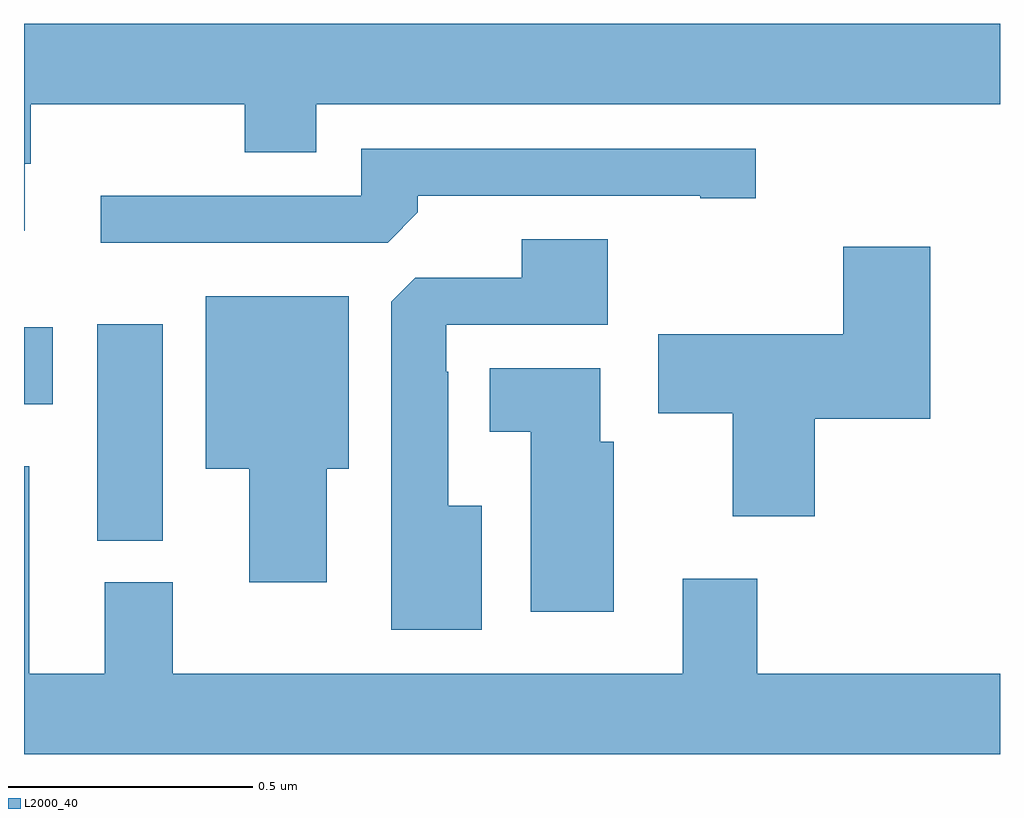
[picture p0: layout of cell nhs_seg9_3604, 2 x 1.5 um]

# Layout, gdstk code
import gdstk
lib = gdstk.Library(unit=1e-6, precision=1e-09)
def R(c, l, rs):  # rectangles x0, y0, x1, y1
    for r in rs: c.add(gdstk.rectangle(r[:2], r[2:], *l))
def P(c, l, *ps):  # polygons
    for p in ps: c.add(gdstk.Polygon(p, *l))
L2000_40 = (2000, 40)

nhs_seg9_3604 = lib.new_cell('nhs_seg9_3604')
R(nhs_seg9_3604, L2000_40, [(155.15,1234.153,155.284,1234.597), (155,1234.433,155.059,1234.591)])
P(nhs_seg9_3604, L2000_40, [(155.002,1234.926),(155.014,1234.926),(155.014,1235.048),(155.452,1235.048),(155.452,1234.949),(155.599,1234.949),(155.599,1235.048),(157,1235.048),(157,1235.212),(155,1235.212),(155,1234.788),(155.002,1234.788)],
  [(155.807,1234.826),(155.807,1234.86),(156.386,1234.86),(156.386,1234.855),(156.499,1234.855),(156.499,1234.956),(155.691,1234.956),(155.691,1234.86),(155.157,1234.86),(155.157,1234.764),(155.745,1234.764)],
  [(155.938,1234.225),(155.869,1234.225),(155.869,1234.499),(155.865,1234.499),(155.865,1234.596),(156.196,1234.596),(156.196,1234.771),(156.02,1234.771),(156.02,1234.692),(155.802,1234.692),(155.753,1234.643),(155.753,1233.971),(155.938,1233.971)],
  [(156.62,1234.403),(156.857,1234.403),(156.857,1234.756),(156.679,1234.756),(156.679,1234.576),(156.3,1234.576),(156.3,1234.414),(156.452,1234.414),(156.452,1234.203),(156.62,1234.203)],
  [(155.62,1234.301),(155.665,1234.301),(155.665,1234.654),(155.372,1234.654),(155.372,1234.301),(155.462,1234.301),(155.462,1234.068),(155.62,1234.068)],
  [(156.208,1234.356),(156.181,1234.356),(156.181,1234.507),(155.954,1234.507),(155.954,1234.376),(156.038,1234.376),(156.038,1234.008),(156.208,1234.008)],
  [(157,1233.88),(156.503,1233.88),(156.503,1234.075),(156.35,1234.075),(156.35,1233.88),(155.305,1233.88),(155.305,1234.068),(155.165,1234.068),(155.165,1233.88),(155.011,1233.88),(155.011,1234.306),(155,1234.306),(155,1233.716),(157,1233.716)])

lib.write_gds('nhs_seg9_3604.gds')
